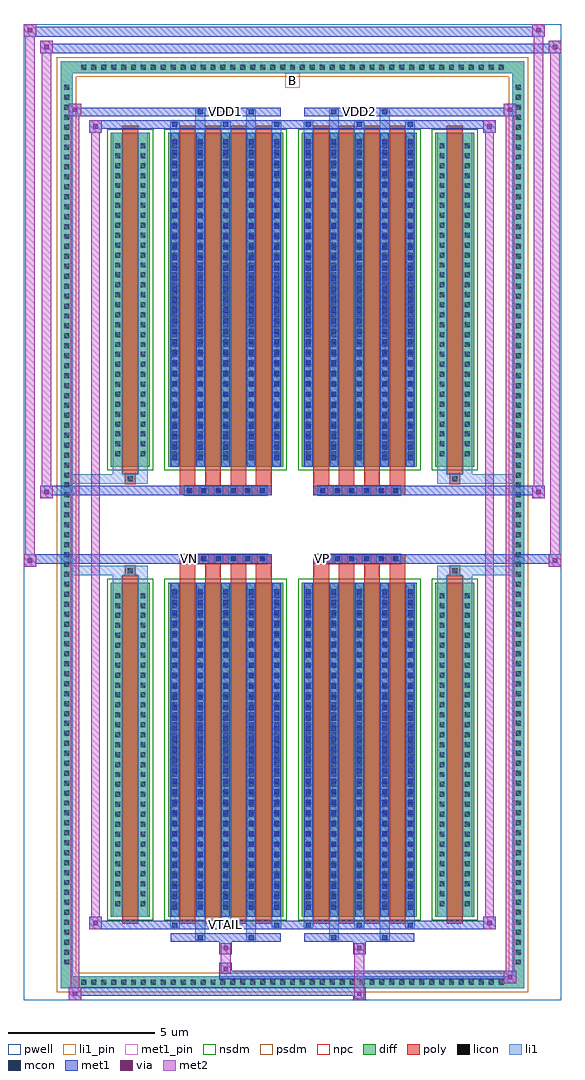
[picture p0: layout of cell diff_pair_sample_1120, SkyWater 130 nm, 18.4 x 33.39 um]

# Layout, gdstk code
import gdstk
lib = gdstk.Library(unit=1e-6, precision=5e-09)
def R(c, l, rs):  # rectangles x0, y0, x1, y1
    for r in rs: c.add(gdstk.rectangle(r[:2], r[2:], *l))
def A(c, l, x, y, w, h, nx, ny, dx, dy):  # array of equal rectangles
    R(c, l, [(x+i*dx, y+j*dy, x+i*dx+w, y+j*dy+h) for i in range(nx) for j in range(ny)])
def P(c, l, *ps):  # polygons
    for p in ps: c.add(gdstk.Polygon(p, *l))
pwell = (64, 44)
diff = (65, 20)
poly = (66, 20)
licon = (66, 44)
li1_pin = (67, 16)
li1 = (67, 20)
mcon = (67, 44)
met1_pin = (68, 16)
met1 = (68, 20)
via = (68, 44)
met2 = (69, 20)
nsdm = (93, 44)
psdm = (94, 20)
npc = (95, 20)

diff_pair_sample_1120 = lib.new_cell('diff_pair_sample_1120')
R(diff_pair_sample_1120, pwell, [(-9.2,-16.26,9.2,17.13), (-6.52,-14.45,-0.01,-0.805), (0.01,-14.45,6.52,-0.805), (-6.52,0.805,-0.01,14.45), (0.01,0.805,6.52,14.45)])
A(diff_pair_sample_1120, diff, -7.345, -15.86, 0.41, 0.41, 43, 2, 0.34, 31.31)
A(diff_pair_sample_1120, diff, -7.93, -15.165, 0.41, 0.41, 1, 89, 0, 0.34)
A(diff_pair_sample_1120, diff, 7.52, -15.165, 0.41, 0.41, 1, 89, 0, 0.34)
R(diff_pair_sample_1120, diff, [(-7.345,-15.86,7.345,-15.45), (-7.93,-15.165,-7.52,15.165), (7.52,-15.165,7.93,15.165), (-6.21,-13.405,-4.89,-1.985), (-4.25,-13.405,-0.32,-1.985), (0.32,-13.405,4.25,-1.985), (4.89,-13.405,6.21,-1.985), (-6.21,1.985,-4.89,13.405), (-4.25,1.985,-0.32,13.405), (0.32,1.985,4.25,13.405), (4.89,1.985,6.21,13.405), (-7.345,15.45,7.345,15.86)])
P(diff_pair_sample_1120, diff, [(7.93,15.86),(-7.93,15.86),(-7.93,-15.45),(-7.52,-15.45),(-7.52,15.45),(7.52,15.45),(7.52,-15.45),(-7.52,-15.45),(-7.93,-15.45),(-7.93,-15.86),(7.93,-15.86)])
A(diff_pair_sample_1120, poly, -3.86, -13.655, 0.54, 11.92, 4, 2, 0.87, 15.39)
A(diff_pair_sample_1120, poly, 0.71, -13.655, 0.54, 11.92, 4, 2, 0.87, 15.39)
A(diff_pair_sample_1120, poly, -3.86, -1.735, 0.54, 0.4, 4, 2, 0.87, 3.07)
A(diff_pair_sample_1120, poly, 0.71, -1.735, 0.54, 0.4, 4, 2, 0.87, 3.07)
A(diff_pair_sample_1120, poly, -3.7, -1.335, 0.33, 0.33, 6, 2, 0.5, 2.34)
A(diff_pair_sample_1120, poly, 0.87, -1.335, 0.33, 0.33, 6, 2, 0.5, 2.34)
R(diff_pair_sample_1120, poly, [(-5.82,-13.655,-5.28,-1.735), (5.28,-13.655,5.82,-1.735), (-5.715,-1.735,-5.385,-1.405), (-5.715,-1.735,-5.385,-1.405), (5.385,-1.735,5.715,-1.405), (5.385,-1.735,5.715,-1.405), (-3.86,-1.335,-0.71,-1.005), (0.71,-1.335,3.86,-1.005), (-3.86,1.005,-0.71,1.335), (0.71,1.005,3.86,1.335), (-5.715,1.405,-5.385,1.735), (-5.715,1.405,-5.385,1.735), (5.385,1.405,5.715,1.735), (5.385,1.405,5.715,1.735), (-5.82,1.735,-5.28,13.655), (5.28,1.735,5.82,13.655)])
A(diff_pair_sample_1120, licon, -7.225, -15.74, 0.17, 0.17, 43, 2, 0.34, 31.31)
A(diff_pair_sample_1120, licon, -7.81, -15.045, 0.17, 0.17, 1, 89, 0, 0.34)
A(diff_pair_sample_1120, licon, 7.64, -15.045, 0.17, 0.17, 1, 89, 0, 0.34)
A(diff_pair_sample_1120, licon, -6.07, -13.05, 0.17, 0.17, 1, 32, 0, 0.34)
A(diff_pair_sample_1120, licon, -5.2, -13.05, 0.17, 0.17, 1, 32, 0, 0.34)
A(diff_pair_sample_1120, licon, -4.11, -13.05, 0.17, 0.17, 5, 32, 0.87, 0.34)
A(diff_pair_sample_1120, licon, 0.46, -13.05, 0.17, 0.17, 5, 32, 0.87, 0.34)
A(diff_pair_sample_1120, licon, 5.03, -13.05, 0.17, 0.17, 1, 32, 0, 0.34)
A(diff_pair_sample_1120, licon, 5.9, -13.05, 0.17, 0.17, 1, 32, 0, 0.34)
A(diff_pair_sample_1120, licon, -3.62, -1.255, 0.17, 0.17, 6, 2, 0.5, 2.34)
A(diff_pair_sample_1120, licon, 0.95, -1.255, 0.17, 0.17, 6, 2, 0.5, 2.34)
A(diff_pair_sample_1120, licon, -6.07, 2.34, 0.17, 0.17, 1, 32, 0, 0.34)
A(diff_pair_sample_1120, licon, -5.2, 2.34, 0.17, 0.17, 1, 32, 0, 0.34)
A(diff_pair_sample_1120, licon, -4.11, 2.34, 0.17, 0.17, 5, 32, 0.87, 0.34)
A(diff_pair_sample_1120, licon, 0.46, 2.34, 0.17, 0.17, 5, 32, 0.87, 0.34)
A(diff_pair_sample_1120, licon, 5.03, 2.34, 0.17, 0.17, 1, 32, 0, 0.34)
A(diff_pair_sample_1120, licon, 5.9, 2.34, 0.17, 0.17, 1, 32, 0, 0.34)
R(diff_pair_sample_1120, licon, [(-5.635,-1.655,-5.465,-1.485), (5.465,-1.655,5.635,-1.485), (-5.635,1.485,-5.465,1.655), (5.465,1.485,5.635,1.655)])
R(diff_pair_sample_1120, li1_pin, [(-0.25,14.95,0.25,15.45)])
A(diff_pair_sample_1120, li1, -7.305, -15.82, 0.33, 0.33, 43, 2, 0.34, 31.31)
A(diff_pair_sample_1120, li1, -7.89, -15.125, 0.33, 0.33, 1, 89, 0, 0.34)
A(diff_pair_sample_1120, li1, 7.56, -15.125, 0.33, 0.33, 1, 89, 0, 0.34)
A(diff_pair_sample_1120, li1, -4.19, -13.78, 0.33, 0.375, 3, 2, 1.74, 27.185)
A(diff_pair_sample_1120, li1, -4.11, -13.78, 0.17, 0.17, 3, 2, 1.74, 27.39)
A(diff_pair_sample_1120, li1, 0.38, -13.78, 0.33, 0.375, 3, 2, 1.74, 27.185)
A(diff_pair_sample_1120, li1, 0.46, -13.78, 0.17, 0.17, 3, 2, 1.74, 27.39)
A(diff_pair_sample_1120, li1, -4.19, -13.405, 0.33, 11.42, 5, 2, 0.87, 15.39)
A(diff_pair_sample_1120, li1, 0.38, -13.405, 0.33, 11.42, 5, 2, 0.87, 15.39)
A(diff_pair_sample_1120, li1, -4.11, -13.18, 0.17, 0.17, 5, 31, 0.87, 0.36)
A(diff_pair_sample_1120, li1, -4.11, -13.18, 0.17, 10.97, 5, 2, 0.87, 15.39)
A(diff_pair_sample_1120, li1, 0.46, -13.18, 0.17, 0.17, 5, 31, 0.87, 0.36)
A(diff_pair_sample_1120, li1, 0.46, -13.18, 0.17, 10.97, 5, 2, 0.87, 15.39)
A(diff_pair_sample_1120, li1, -6.15, -13.13, 0.33, 0.33, 1, 32, 0, 0.34)
A(diff_pair_sample_1120, li1, -5.28, -13.13, 0.33, 0.33, 1, 32, 0, 0.34)
A(diff_pair_sample_1120, li1, -4.19, -13.13, 0.33, 0.33, 5, 32, 0.87, 0.34)
A(diff_pair_sample_1120, li1, 0.38, -13.13, 0.33, 0.33, 5, 32, 0.87, 0.34)
A(diff_pair_sample_1120, li1, 4.95, -13.13, 0.33, 0.33, 1, 32, 0, 0.34)
A(diff_pair_sample_1120, li1, 5.82, -13.13, 0.33, 0.33, 1, 32, 0, 0.34)
A(diff_pair_sample_1120, li1, -3.7, -1.335, 0.33, 0.33, 6, 2, 0.5, 2.34)
A(diff_pair_sample_1120, li1, 0.87, -1.335, 0.33, 0.33, 6, 2, 0.5, 2.34)
A(diff_pair_sample_1120, li1, -4.11, 2.21, 0.17, 0.17, 5, 31, 0.87, 0.36)
A(diff_pair_sample_1120, li1, 0.46, 2.21, 0.17, 0.17, 5, 31, 0.87, 0.36)
A(diff_pair_sample_1120, li1, -6.15, 2.26, 0.33, 0.33, 1, 32, 0, 0.34)
A(diff_pair_sample_1120, li1, -5.28, 2.26, 0.33, 0.33, 1, 32, 0, 0.34)
A(diff_pair_sample_1120, li1, -4.19, 2.26, 0.33, 0.33, 5, 32, 0.87, 0.34)
A(diff_pair_sample_1120, li1, 0.38, 2.26, 0.33, 0.33, 5, 32, 0.87, 0.34)
A(diff_pair_sample_1120, li1, 4.95, 2.26, 0.33, 0.33, 1, 32, 0, 0.34)
A(diff_pair_sample_1120, li1, 5.82, 2.26, 0.33, 0.33, 1, 32, 0, 0.34)
R(diff_pair_sample_1120, li1, [(-7.93,-15.86,-7.52,-15.45), (-7.93,-15.86,-7.52,-15.45), (-7.52,-15.86,7.52,-15.45), (7.52,-15.86,7.93,-15.45), (7.52,-15.86,7.93,-15.45), (-7.93,-15.45,-7.52,15.45), (7.52,-15.45,7.93,15.45), (-3.32,-14.21,-2.99,-13.405), (-3.24,-14.21,-3.07,-14.04), (-1.58,-14.21,-1.25,-13.405), (-1.5,-14.21,-1.33,-14.04), (1.25,-14.21,1.58,-13.405), (1.33,-14.21,1.5,-14.04), (2.99,-14.21,3.32,-13.405), (3.07,-14.21,3.24,-14.04), (-6.15,-13.405,-5.82,-1.985), (-5.28,-13.405,-4.95,-1.985), (4.95,-13.405,5.28,-1.985), (5.82,-13.405,6.15,-1.985), (-6.15,-1.985,-5.82,-1.405), (-5.28,-1.985,-4.95,-1.405), (4.95,-1.985,5.28,-1.405), (5.82,-1.985,6.15,-1.405), (-7.93,-1.735,-5.715,-1.405), (-6.15,-1.735,-5.715,-1.405), (-5.715,-1.735,-5.385,-1.405), (-5.385,-1.735,-4.95,-1.405), (4.95,-1.735,5.385,-1.405), (5.385,-1.735,5.715,-1.405), (5.385,-1.735,7.93,-1.405), (5.715,-1.735,6.15,-1.405), (-7.93,1.405,-5.715,1.735), (-6.15,1.405,-5.715,1.735), (-6.15,1.405,-5.82,1.985), (-5.715,1.405,-5.385,1.735), (-5.385,1.405,-4.95,1.735), (-5.28,1.405,-4.95,1.985), (4.95,1.405,5.385,1.735), (4.95,1.405,5.28,1.985), (5.385,1.405,5.715,1.735), (5.385,1.405,7.93,1.735), (5.715,1.405,6.15,1.735), (5.82,1.405,6.15,1.985), (-6.15,1.985,-5.82,13.405), (-5.28,1.985,-4.95,13.405), (4.95,1.985,5.28,13.405), (5.82,1.985,6.15,13.405), (-3.32,13.405,-2.99,14.21), (-1.58,13.405,-1.25,14.21), (1.25,13.405,1.58,14.21), (2.99,13.405,3.32,14.21), (-3.24,14.04,-3.07,14.21), (-1.5,14.04,-1.33,14.21), (1.33,14.04,1.5,14.21), (3.07,14.04,3.24,14.21), (-7.93,15.45,-7.52,15.86), (-7.93,15.45,-7.52,15.86), (-7.52,15.45,7.52,15.86), (7.52,15.45,7.93,15.86), (7.52,15.45,7.93,15.86)])
A(diff_pair_sample_1120, mcon, -4.11, -13.78, 0.17, 0.17, 3, 2, 1.74, 27.39)
A(diff_pair_sample_1120, mcon, 0.46, -13.78, 0.17, 0.17, 3, 2, 1.74, 27.39)
A(diff_pair_sample_1120, mcon, -4.11, -13.18, 0.17, 0.17, 5, 31, 0.87, 0.36)
A(diff_pair_sample_1120, mcon, 0.46, -13.18, 0.17, 0.17, 5, 31, 0.87, 0.36)
A(diff_pair_sample_1120, mcon, -3.62, -1.255, 0.17, 0.17, 6, 2, 0.5, 2.34)
A(diff_pair_sample_1120, mcon, 0.95, -1.255, 0.17, 0.17, 6, 2, 0.5, 2.34)
A(diff_pair_sample_1120, mcon, -4.11, 2.21, 0.17, 0.17, 5, 31, 0.87, 0.36)
A(diff_pair_sample_1120, mcon, 0.46, 2.21, 0.17, 0.17, 5, 31, 0.87, 0.36)
R(diff_pair_sample_1120, mcon, [(-3.24,-14.21,-3.07,-14.04), (-1.5,-14.21,-1.33,-14.04), (1.33,-14.21,1.5,-14.04), (3.07,-14.21,3.24,-14.04), (-3.24,14.04,-3.07,14.21), (-1.5,14.04,-1.33,14.21), (1.33,14.04,1.5,14.21), (3.07,14.04,3.24,14.21)])
R(diff_pair_sample_1120, met1_pin, [(-2.42,-13.82,-2.15,-13.55), (-3.67,-1.295,-3.4,-1.025), (0.9,-1.295,1.17,-1.025), (-2.42,14,-2.15,14.27), (2.15,14,2.42,14.27)])
A(diff_pair_sample_1120, met1, -4.17, -13.84, 0.29, 0.29, 3, 2, 1.74, 27.39)
A(diff_pair_sample_1120, met1, 0.4, -13.84, 0.29, 0.29, 3, 2, 1.74, 27.39)
A(diff_pair_sample_1120, met1, -4.17, -13.405, 0.29, 11.42, 5, 2, 0.87, 15.39)
A(diff_pair_sample_1120, met1, 0.4, -13.405, 0.29, 11.42, 5, 2, 0.87, 15.39)
A(diff_pair_sample_1120, met1, -4.17, -13.24, 0.29, 0.29, 5, 31, 0.87, 0.36)
A(diff_pair_sample_1120, met1, 0.4, -13.24, 0.29, 0.29, 5, 31, 0.87, 0.36)
A(diff_pair_sample_1120, met1, -3.68, -1.315, 0.29, 0.29, 6, 2, 0.5, 2.34)
A(diff_pair_sample_1120, met1, 0.89, -1.315, 0.29, 0.29, 6, 2, 0.5, 2.34)
A(diff_pair_sample_1120, met1, -4.17, 2.15, 0.29, 0.29, 5, 31, 0.87, 0.36)
A(diff_pair_sample_1120, met1, 0.4, 2.15, 0.29, 0.29, 5, 31, 0.87, 0.36)
R(diff_pair_sample_1120, met1, [(-7.66,-16.26,-7.23,-15.83), (2.07,-16.26,2.5,-15.83), (-7.66,-16.12,2.5,-15.83), (7.23,-15.69,7.66,-15.26), (-2.5,-15.55,7.66,-15.26), (-2.5,-15.41,-2.07,-14.98), (-2.5,-14.7,-2.07,-14.27), (2.07,-14.7,2.5,-14.27), (-4.17,-14.27,-0.4,-13.98), (-3.3,-14.27,-3.01,-13.98), (-1.56,-14.27,-1.27,-13.98), (0.4,-14.27,4.17,-13.98), (1.27,-14.27,1.56,-13.98), (3.01,-14.27,3.3,-13.98), (-6.95,-13.84,-6.52,-13.41), (-6.95,-13.84,-4.17,-13.55), (-4.17,-13.84,-0.4,-13.55), (-0.4,-13.84,0.4,-13.55), (0.4,-13.84,4.17,-13.55), (4.17,-13.84,6.95,-13.55), (6.52,-13.84,6.95,-13.41), (-9.2,-1.435,-8.77,-1.005), (8.77,-1.435,9.2,-1.005), (-9.2,-1.335,-0.71,-1.005), (-3.86,-1.335,-0.71,-1.005), (0.71,-1.335,3.86,-1.005), (0.71,-1.335,9.2,-1.005), (-8.63,0.905,-8.2,1.335), (8.2,0.905,8.63,1.335), (-8.63,1.005,-3.86,1.335), (-3.86,1.005,-0.71,1.335), (0.71,1.005,3.86,1.335), (3.86,1.005,8.63,1.335), (-6.95,13.41,-6.52,13.84), (6.52,13.41,6.95,13.84), (-6.95,13.55,-4.17,13.84), (-4.17,13.55,-0.4,13.84), (-0.4,13.55,0.4,13.84), (0.4,13.55,4.17,13.84), (4.17,13.55,6.95,13.84), (-7.66,13.98,-7.23,14.41), (-7.66,13.98,-4.17,14.27), (-4.17,13.98,-0.4,14.27), (-3.3,13.98,-3.01,14.27), (-1.56,13.98,-1.27,14.27), (0.4,13.98,4.17,14.27), (1.27,13.98,1.56,14.27), (3.01,13.98,3.3,14.27), (4.17,13.98,7.66,14.27), (7.23,13.98,7.66,14.41), (-8.63,16.13,-8.2,16.56), (-8.63,16.13,-6.52,16.46), (-6.52,16.13,6.52,16.46), (6.52,16.13,9.2,16.46), (8.77,16.13,9.2,16.56), (-9.2,16.7,-8.77,17.13), (-9.2,16.7,-6.52,17.03), (-6.52,16.7,6.52,17.03), (6.52,16.7,8.63,17.03), (8.2,16.7,8.63,17.13)])
R(diff_pair_sample_1120, via, [(-7.52,-16.12,-7.37,-15.97), (2.21,-16.12,2.36,-15.97), (7.37,-15.55,7.52,-15.4), (-2.36,-15.27,-2.21,-15.12), (-2.36,-14.56,-2.21,-14.41), (2.21,-14.56,2.36,-14.41), (-6.81,-13.7,-6.66,-13.55), (6.66,-13.7,6.81,-13.55), (-9.06,-1.295,-8.91,-1.145), (8.91,-1.295,9.06,-1.145), (-8.49,1.045,-8.34,1.195), (8.34,1.045,8.49,1.195), (-6.81,13.55,-6.66,13.7), (6.66,13.55,6.81,13.7), (-7.52,14.12,-7.37,14.27), (7.37,14.12,7.52,14.27), (-8.49,16.27,-8.34,16.42), (8.91,16.27,9.06,16.42), (-9.06,16.84,-8.91,16.99), (8.34,16.84,8.49,16.99)])
R(diff_pair_sample_1120, met2, [(-7.66,-16.26,-7.23,-15.83), (-7.59,-16.26,-7.3,14.41), (-7.3,-16.26,-7.23,-15.83), (-7.61,-16.21,-7.28,-15.88), (2.12,-16.21,2.45,-15.88), (2.12,-15.88,2.45,-14.65), (7.23,-15.69,7.66,-15.26), (7.3,-15.69,7.59,14.41), (7.59,-15.69,7.66,-15.26), (7.28,-15.64,7.61,-15.31), (-2.45,-15.36,-2.12,-15.03), (-2.45,-15.03,-2.12,-14.65), (-2.45,-14.65,-2.12,-14.32), (2.12,-14.65,2.45,-14.32), (-6.95,-13.84,-6.52,-13.41), (-6.88,-13.84,-6.59,13.84), (-6.59,-13.84,-6.52,-13.41), (6.52,-13.84,6.95,-13.41), (6.59,-13.84,6.88,13.84), (6.88,-13.84,6.95,-13.41), (-6.9,-13.79,-6.57,-13.46), (6.57,-13.79,6.9,-13.46), (-9.2,-1.435,-8.77,-1.005), (-9.15,-1.435,-8.82,17.13), (-8.82,-1.435,-8.77,-1.005), (8.77,-1.435,9.2,-1.005), (8.82,-1.435,9.15,16.56), (9.15,-1.435,9.2,-1.005), (-9.15,-1.385,-8.82,-1.055), (8.82,-1.385,9.15,-1.055), (-8.63,0.905,-8.2,1.335), (-8.58,0.905,-8.25,16.56), (-8.25,0.905,-8.2,1.335), (8.2,0.905,8.63,1.335), (8.25,0.905,8.58,17.13), (8.58,0.905,8.63,1.335), (-8.58,0.955,-8.25,1.285), (8.25,0.955,8.58,1.285), (-6.95,13.41,-6.52,13.84), (-6.59,13.41,-6.52,13.84), (6.52,13.41,6.95,13.84), (6.88,13.41,6.95,13.84), (-6.9,13.46,-6.57,13.79), (6.57,13.46,6.9,13.79), (-7.66,13.98,-7.23,14.41), (-7.3,13.98,-7.23,14.41), (7.23,13.98,7.66,14.41), (7.59,13.98,7.66,14.41), (-7.61,14.03,-7.28,14.36), (7.28,14.03,7.61,14.36), (-8.63,16.13,-8.2,16.56), (-8.25,16.13,-8.2,16.56), (8.77,16.13,9.2,16.56), (9.15,16.13,9.2,16.56), (-8.58,16.18,-8.25,16.51), (8.82,16.18,9.15,16.51), (-9.2,16.7,-8.77,17.13), (-8.82,16.7,-8.77,17.13), (8.2,16.7,8.63,17.13), (8.58,16.7,8.63,17.13), (-9.15,16.75,-8.82,17.08), (8.25,16.75,8.58,17.08)])
R(diff_pair_sample_1120, nsdm, [(-6.34,-13.535,-4.76,-1.855), (-4.38,-13.535,-0.19,-1.855), (0.19,-13.535,4.38,-1.855), (4.76,-13.535,6.34,-1.855), (-6.34,1.855,-4.76,13.535), (-4.38,1.855,-0.19,13.535), (0.19,1.855,4.38,13.535), (4.76,1.855,6.34,13.535)])
P(diff_pair_sample_1120, psdm, [(8.06,15.99),(-8.06,15.99),(-8.06,-15.32),(-7.39,-15.32),(-7.39,15.32),(7.39,15.32),(7.39,-15.32),(-7.39,-15.32),(-8.06,-15.32),(-8.06,-15.99),(8.06,-15.99)])
A(diff_pair_sample_1120, npc, -3.72, -1.355, 0.37, 0.37, 6, 2, 0.5, 2.34)
A(diff_pair_sample_1120, npc, 0.85, -1.355, 0.37, 0.37, 6, 2, 0.5, 2.34)
R(diff_pair_sample_1120, npc, [(-5.735,-1.755,-5.365,-1.385), (5.365,-1.755,5.735,-1.385), (-3.72,-1.355,-2.85,-0.985), (-3.72,-1.355,-2.85,-0.985), (-3.22,-1.355,-2.35,-0.985), (-3.22,-1.355,-2.35,-0.985), (-2.72,-1.355,-1.85,-0.985), (-2.72,-1.355,-1.85,-0.985), (-2.22,-1.355,-1.35,-0.985), (-2.22,-1.355,-1.35,-0.985), (-1.72,-1.355,-0.85,-0.985), (-1.72,-1.355,-0.85,-0.985), (0.85,-1.355,1.72,-0.985), (0.85,-1.355,1.72,-0.985), (1.35,-1.355,2.22,-0.985), (1.35,-1.355,2.22,-0.985), (1.85,-1.355,2.72,-0.985), (1.85,-1.355,2.72,-0.985), (2.35,-1.355,3.22,-0.985), (2.35,-1.355,3.22,-0.985), (2.85,-1.355,3.72,-0.985), (2.85,-1.355,3.72,-0.985), (-3.72,0.985,-2.85,1.355), (-3.72,0.985,-2.85,1.355), (-3.22,0.985,-2.35,1.355), (-3.22,0.985,-2.35,1.355), (-2.72,0.985,-1.85,1.355), (-2.72,0.985,-1.85,1.355), (-2.22,0.985,-1.35,1.355), (-2.22,0.985,-1.35,1.355), (-1.72,0.985,-0.85,1.355), (-1.72,0.985,-0.85,1.355), (0.85,0.985,1.72,1.355), (0.85,0.985,1.72,1.355), (1.35,0.985,2.22,1.355), (1.35,0.985,2.22,1.355), (1.85,0.985,2.72,1.355), (1.85,0.985,2.72,1.355), (2.35,0.985,3.22,1.355), (2.35,0.985,3.22,1.355), (2.85,0.985,3.72,1.355), (2.85,0.985,3.72,1.355), (-5.735,1.385,-5.365,1.755), (5.365,1.385,5.735,1.755)])
diff_pair_sample_1120.add(gdstk.Label('VTAIL', (-2.285,-13.685), layer=68, texttype=5))
diff_pair_sample_1120.add(gdstk.Label('VN', (-3.535,-1.16), layer=68, texttype=5))
diff_pair_sample_1120.add(gdstk.Label('VP', (1.035,-1.16), layer=68, texttype=5))
diff_pair_sample_1120.add(gdstk.Label('B', (0,15.2), layer=67, texttype=5))
diff_pair_sample_1120.add(gdstk.Label('VDD2', (2.285,14.135), layer=68, texttype=5))
diff_pair_sample_1120.add(gdstk.Label('VDD1', (-2.285,14.135), layer=68, texttype=5))

lib.write_gds('diff_pair_sample_1120.gds')
